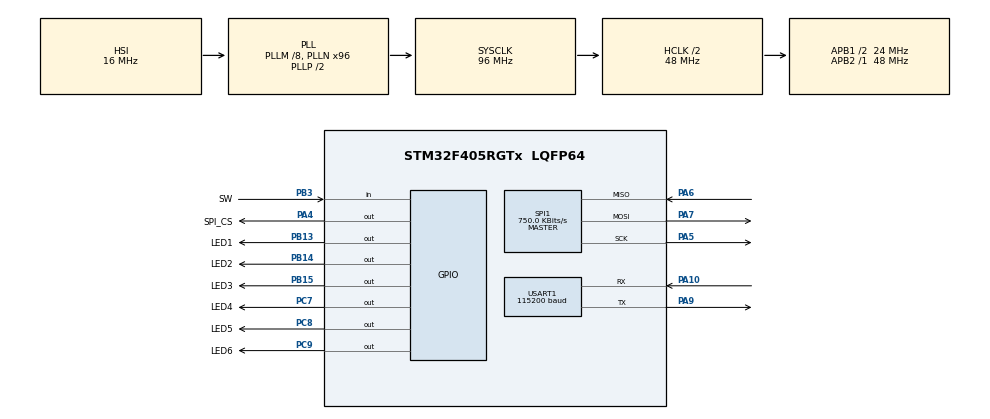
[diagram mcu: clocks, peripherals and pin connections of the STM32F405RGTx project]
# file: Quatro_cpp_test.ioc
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FREERTOS.BinarySemaphores01=myBinarySem01,Dynamic,NULL
FREERTOS.Tasks01=defaultTask,0,128,StartDefaultTask,Default,NULL,Dynamic,NULL,NULL
Mcu.Family=STM32F4
Mcu.Name=STM32F405RGTx
Mcu.Package=LQFP64
NVIC.PriorityGroup=NVIC_PRIORITYGROUP_4
NVIC.TIM6_DAC_IRQn=true\:0\:0\:false\:false\:true\:false\:false\:true\:true
NVIC.TIM7_IRQn=true\:5\:0\:false\:false\:true\:true\:true\:true\:true
NVIC.TIM8_UP_TIM13_IRQn=true\:5\:0\:false\:false\:true\:true\:true\:true\:true
NVIC.TimeBase=TIM6_DAC_IRQn
NVIC.TimeBaseIP=TIM6
PA10.Mode=Asynchronous
PA10.Signal=USART1_RX
PA13.Mode=Serial_Wire
PA13.Signal=SYS_JTMS-SWDIO
PA14.Mode=Serial_Wire
PA14.Signal=SYS_JTCK-SWCLK
PA4.GPIO_Label=SPI_CS
PA4.Signal=GPIO_Output
PA5.Mode=Full_Duplex_Master
PA5.Signal=SPI1_SCK
PA6.Mode=Full_Duplex_Master
PA6.Signal=SPI1_MISO
PA7.Mode=Full_Duplex_Master
PA7.Signal=SPI1_MOSI
PA9.Mode=Asynchronous
PA9.Signal=USART1_TX
PB1.Signal=ADCx_IN9
PB13.GPIO_Label=LED1
PB13.Signal=GPIO_Output
PB14.GPIO_Label=LED2
PB14.Signal=GPIO_Output
PB15.GPIO_Label=LED3
PB15.Signal=GPIO_Output
PB3.GPIO_Label=SW
PB3.Signal=GPIO_Input
PC7.GPIO_Label=LED4
PC7.Signal=GPIO_Output
PC8.GPIO_Label=LED5
PC8.Signal=GPIO_Output
PC9.GPIO_Label=LED6
PC9.Signal=GPIO_Output
ProjectManager.HeapSize=0x200
ProjectManager.StackSize=0x400
ProjectManager.TargetToolchain=Makefile
RCC.48MHZClocksFreq_Value=48000000
RCC.AHBCLKDivider=RCC_SYSCLK_DIV2
RCC.AHBFreq_Value=48000000
RCC.APB1CLKDivider=RCC_HCLK_DIV2
RCC.APB1Freq_Value=24000000
RCC.APB1TimFreq_Value=48000000
RCC.APB2Freq_Value=48000000
RCC.APB2TimFreq_Value=48000000
RCC.CortexFreq_Value=48000000
RCC.HCLKFreq_Value=48000000
RCC.HSE_VALUE=25000000
RCC.HSI_VALUE=16000000
RCC.LSE_VALUE=32768
RCC.PLLM=8
RCC.PLLN=96
RCC.SYSCLKFreq_VALUE=96000000
RCC.SYSCLKSource=RCC_SYSCLKSOURCE_PLLCLK
RCC.VCOOutputFreq_Value=192000000
SH.ADCx_IN9.0=ADC1_IN9
SPI1.BaudRatePrescaler=SPI_BAUDRATEPRESCALER_64
SPI1.CLKPhase=SPI_PHASE_2EDGE
SPI1.CLKPolarity=SPI_POLARITY_HIGH
SPI1.CalculateBaudRate=750.0 KBits/s
SPI1.Direction=SPI_DIRECTION_2LINES
SPI1.Mode=SPI_MODE_MASTER
SPI1.VirtualType=VM_MASTER
TIM13.Period=10000-1
TIM13.Prescaler=4800-1
TIM7.Period=1000-1
TIM7.Prescaler=48-1
USART1.BaudRate=115200
USART1.VirtualMode=VM_ASYNC
VP_FREERTOS_VS_CMSIS_V1.Mode=CMSIS_V1
VP_SYS_VS_tim6.Mode=TIM6
VP_TIM13_VS_ClockSourceINT.Mode=Enable_Timer
VP_TIM7_VS_ClockSourceINT.Mode=Enable_Timer
board=custom

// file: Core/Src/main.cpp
/* USER CODE BEGIN Header */
/**
 ******************************************************************************
 * @file           : main.c
 * @brief          : Main program body
 ******************************************************************************
 * @attention
 *
 * <h2><center>&copy; Copyright (c) 2021 STMicroelectronics.
 * All rights reserved.</center></h2>
 *
 * This software component is licensed by ST under BSD 3-Clause license,
 * the "License"; You may not use this file except in compliance with the
 * License. You may obtain a copy of the License at:
 *                        opensource.org/licenses/BSD-3-Clause
 *
 ******************************************************************************
 */
/* USER CODE END Header */
#include "main.h"
#include "cmsis_os.h"
#include "spi.h"
#include "tim.h"
#include "usart.h"
#include "gpio.h"

/* USER CODE BEGIN Includes */
#include <unistd.h>
#include "my_header.h"
#include "main_exec.h"
/* USER CODE END Includes */

/* USER CODE BEGIN PV */
#ifdef __cplusplus
extern "C"
{
#endif
  extern osSemaphoreId myBinarySem01Handle;
  /* USER CODE END PV */

  /* Private function prototypes -----------------------------------------------*/
  void SystemClock_Config(void);
  void MX_FREERTOS_Init(void);
/* USER CODE BEGIN PFP */
#ifdef __cplusplus
}
#endif
/* USER CODE END PFP */

/* USER CODE BEGIN 0 */
int cnt1kHz = 0;
int cnt1Hz = 0;
/* USER CODE END 0 */

int main(void)
{

  /* MCU Configuration--------------------------------------------------------*/

  /* Reset of all peripherals, Initializes the Flash interface and the Systick. */
  HAL_Init();

  /* Configure the system clock */
  SystemClock_Config();

  /* Initialize all configured peripherals */
  MX_GPIO_Init();
  MX_SPI1_Init();
  MX_USART1_UART_Init();
  MX_TIM7_Init();
  MX_TIM13_Init();
  /* USER CODE BEGIN 2 */
  // HAL_TIM_Base_Start_IT(&htim1);
  // HAL_TIM_PWM_Start(&htim2, TIM_CHANNEL_1);
  // HAL_TIM_Encoder_Start(&htim3, TIM_CHANNEL_ALL);
  // HAL_TIM_Encoder_Start(&htim4, TIM_CHANNEL_ALL);
  // HAL_TIM_PWM_Start(&htim5, TIM_CHANNEL_1);
  // HAL_TIM_PWM_Start(&htim5, TIM_CHANNEL_2);
  // HAL_TIM_PWM_Start(&htim5, TIM_CHANNEL_3);
  // HAL_TIM_PWM_Start(&htim5, TIM_CHANNEL_4);
  HAL_TIM_Base_Start_IT(&htim7);
  // HAL_TIM_PWM_Start(&htim8, TIM_CHANNEL_1);
  // HAL_TIM_PWM_Start(&htim10, TIM_CHANNEL_1);
  // HAL_TIM_PWM_Start(&htim11, TIM_CHANNEL_1);
  HAL_TIM_Base_Start_IT(&htim13);

  // setbuf(stdout, NULL);
  // StartupProcess();
  /* USER CODE END 2 */

  /* Call init function for freertos objects (in freertos.c) */
  MX_FREERTOS_Init();
  /* Start scheduler */
  osKernelStart();

  /* We should never get here as control is now taken by the scheduler */
  /* Infinite loop */
  while (1)
  {

    /* USER CODE BEGIN 3 */
    // StateProcess();
  } // end while

  /* USER CODE END 3 */
}

void SystemClock_Config(void)
{
  RCC_OscInitTypeDef RCC_OscInitStruct = {0};
  RCC_ClkInitTypeDef RCC_ClkInitStruct = {0};

  /** Configure the main internal regulator output voltage
   */
  __HAL_RCC_PWR_CLK_ENABLE();
  __HAL_PWR_VOLTAGESCALING_CONFIG(PWR_REGULATOR_VOLTAGE_SCALE1);
  /** Initializes the RCC Oscillators according to the specified parameters
   * in the RCC_OscInitTypeDef structure.
   */
  RCC_OscInitStruct.OscillatorType = RCC_OSCILLATORTYPE_HSI;
  RCC_OscInitStruct.HSIState = RCC_HSI_ON;
  RCC_OscInitStruct.HSICalibrationValue = RCC_HSICALIBRATION_DEFAULT;
  RCC_OscInitStruct.PLL.PLLState = RCC_PLL_ON;
  RCC_OscInitStruct.PLL.PLLSource = RCC_PLLSOURCE_HSI;
  RCC_OscInitStruct.PLL.PLLM = 8;
  RCC_OscInitStruct.PLL.PLLN = 96;
  RCC_OscInitStruct.PLL.PLLP = RCC_PLLP_DIV2;
  RCC_OscInitStruct.PLL.PLLQ = 4;
  if (HAL_RCC_OscConfig(&RCC_OscInitStruct) != HAL_OK)
  {
    Error_Handler();
  }
  /** Initializes the CPU, AHB and APB buses clocks
   */
  RCC_ClkInitStruct.ClockType = RCC_CLOCKTYPE_HCLK | RCC_CLOCKTYPE_SYSCLK | RCC_CLOCKTYPE_PCLK1 | RCC_CLOCKTYPE_PCLK2;
  RCC_ClkInitStruct.SYSCLKSource = RCC_SYSCLKSOURCE_PLLCLK;
  RCC_ClkInitStruct.AHBCLKDivider = RCC_SYSCLK_DIV2;
  RCC_ClkInitStruct.APB1CLKDivider = RCC_HCLK_DIV2;
  RCC_ClkInitStruct.APB2CLKDivider = RCC_HCLK_DIV1;

  if (HAL_RCC_ClockConfig(&RCC_ClkInitStruct, FLASH_LATENCY_1) != HAL_OK)
  {
    Error_Handler();
  }
}

void HAL_TIM_PeriodElapsedCallback(TIM_HandleTypeDef *htim)
{
  if (htim->Instance == TIM6)
  {
    HAL_IncTick();
  }
  /* USER CODE BEGIN Callback 1 */
  if (htim == &htim7)
  {
    // Toggle_GPIO(BACK_LEFT_LED);
    cnt1kHz = (cnt1kHz + 1) % 1000;
    // osSemaphoreRelease(myBinarySem01Handle);
  }
  // Write_GPIO(BACK_LEFT_LED, GPIO_PIN_RESET);
  /* USER CODE END Callback 1 */
}

void Error_Handler(void)
{
  __disable_irq();
  while (1)
  {
  }
}

/************************ (C) COPYRIGHT STMicroelectronics *****END OF FILE****/

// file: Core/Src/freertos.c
/* USER CODE BEGIN Header */
/**
 ******************************************************************************
 * File Name          : freertos.c
 * Description        : Code for freertos applications
 ******************************************************************************
 * @attention
 *
 * <h2><center>&copy; Copyright (c) 2023 STMicroelectronics.
 * All rights reserved.</center></h2>
 *
 * This software component is licensed by ST under Ultimate Liberty license
 * SLA0044, the "License"; You may not use this file except in compliance with
 * the License. You may obtain a copy of the License at:
 *                             www.st.com/SLA0044
 *
 ******************************************************************************
 */
/* USER CODE END Header */

#include "FreeRTOS.h"
#include "task.h"
#include "main.h"
#include "cmsis_os.h"

/* USER CODE BEGIN Variables */
extern int cnt1kHz;
/* USER CODE END Variables */
osThreadId defaultTaskHandle;
osSemaphoreId myBinarySem01Handle;

void StartDefaultTask(void const * argument);

void MX_FREERTOS_Init(void); /* (MISRA C 2004 rule 8.1) */

/* GetIdleTaskMemory prototype (linked to static allocation support) */
void vApplicationGetIdleTaskMemory( StaticTask_t **ppxIdleTaskTCBBuffer, StackType_t **ppxIdleTaskStackBuffer, uint32_t *pulIdleTaskStackSize );

/* USER CODE BEGIN GET_IDLE_TASK_MEMORY */
static StaticTask_t xIdleTaskTCBBuffer;
static StackType_t xIdleStack[configMINIMAL_STACK_SIZE];

void vApplicationGetIdleTaskMemory(StaticTask_t **ppxIdleTaskTCBBuffer, StackType_t **ppxIdleTaskStackBuffer, uint32_t *pulIdleTaskStackSize)
{
  *ppxIdleTaskTCBBuffer = &xIdleTaskTCBBuffer;
  *ppxIdleTaskStackBuffer = &xIdleStack[0];
  *pulIdleTaskStackSize = configMINIMAL_STACK_SIZE;
  /* place for user code */
}
/* USER CODE END GET_IDLE_TASK_MEMORY */

void MX_FREERTOS_Init(void) {

  /* Create the semaphores(s) */
  /* definition and creation of myBinarySem01 */
  osSemaphoreDef(myBinarySem01);
  myBinarySem01Handle = osSemaphoreCreate(osSemaphore(myBinarySem01), 1);

  /* Create the thread(s) */
  /* definition and creation of defaultTask */
  osThreadDef(defaultTask, StartDefaultTask, osPriorityNormal, 0, 128);
  defaultTaskHandle = osThreadCreate(osThread(defaultTask), NULL);

}

void StartDefaultTask(void const * argument)
{
  /* USER CODE BEGIN StartDefaultTask */
  /* Infinite loop */
  for (;;)
  {
    // Toggle_GPIO(BACK_LEFT_LED);
    // if (osSemaphoreWait(myBinarySem01Handle, osWaitForever) == osOK)
    // {
    //   Toggle_GPIO(BACK_LEFT_LED);
    // }
    if (cnt1kHz == 0)
    {
      osSemaphoreRelease(myBinarySem01Handle);
    }
    osSemaphoreWait(myBinarySem01Handle, osWaitForever);
    Toggle_GPIO(BACK_LEFT_LED);
    // osDelay(500);
  }
  /* USER CODE END StartDefaultTask */
}

/************************ (C) COPYRIGHT STMicroelectronics *****END OF FILE****/
